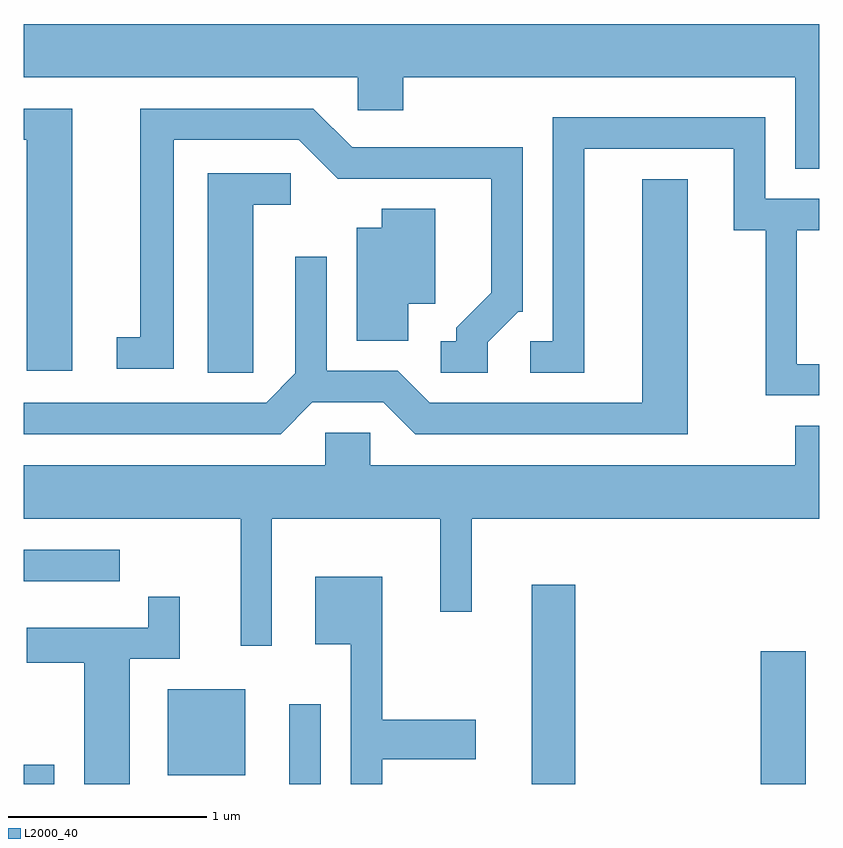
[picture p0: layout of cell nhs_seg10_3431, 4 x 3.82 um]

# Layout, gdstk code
import gdstk
lib = gdstk.Library(unit=1e-6, precision=1e-09)
def R(c, l, rs):  # rectangles x0, y0, x1, y1
    for r in rs: c.add(gdstk.rectangle(r[:2], r[2:], *l))
def P(c, l, *ps):  # polygons
    for p in ps: c.add(gdstk.Polygon(p, *l))
L2000_40 = (2000, 40)

nhs_seg10_3431 = lib.new_cell('nhs_seg10_3431')
R(nhs_seg10_3431, L2000_40, [(285.611,2172.522,285.764,2172.619), (286.946,2172.522,287.104,2172.923), (288.166,2172.522,288.384,2173.524), (289.316,2172.522,289.544,2173.189), (286.336,2172.566,286.724,2172.999), (285.611,2173.541,286.093,2173.699)])
P(nhs_seg10_3431, L2000_40, [(289.611,2176.344),(285.611,2176.344),(285.611,2176.076),(287.291,2176.076),(287.291,2175.911),(287.519,2175.911),(287.519,2176.076),(289.491,2176.076),(289.491,2175.616),(289.611,2175.616)],
  [(287.944,2174.744),(288.097,2174.896),(288.119,2174.896),(288.119,2175.724),(287.262,2175.724),(287.067,2175.919),(286.196,2175.919),(286.196,2174.769),(286.078,2174.769),(286.078,2174.611),(286.364,2174.611),(286.364,2175.761),(286.994,2175.761),(287.189,2175.566),(287.961,2175.566),(287.961,2174.992),(287.786,2174.817),(287.786,2174.749),(287.708,2174.749),(287.708,2174.591),(287.944,2174.591)],
  [(285.854,2175.919),(285.611,2175.919),(285.611,2175.761),(285.626,2175.761),(285.626,2174.601),(285.854,2174.601)],
  [(289.611,2174.634),(289.499,2174.634),(289.499,2175.306),(289.611,2175.306),(289.611,2175.464),(289.339,2175.464),(289.339,2175.874),(288.271,2175.874),(288.271,2174.749),(288.158,2174.749),(288.158,2174.591),(288.429,2174.591),(288.429,2175.716),(289.181,2175.716),(289.181,2175.306),(289.341,2175.306),(289.341,2174.476),(289.611,2174.476)],
  [(286.764,2175.436),(286.953,2175.436),(286.953,2175.594),(286.536,2175.594),(286.536,2174.591),(286.764,2174.591)],
  [(287.062,2174.441),(287.419,2174.441),(287.579,2174.281),(288.949,2174.281),(288.949,2175.564),(288.721,2175.564),(288.721,2174.439),(287.652,2174.439),(287.492,2174.599),(287.134,2174.599),(287.134,2175.173),(286.976,2175.173),(286.976,2174.587),(286.829,2174.439),(285.611,2174.439),(285.611,2174.281),(286.902,2174.281)],
  [(287.544,2174.936),(287.679,2174.936),(287.679,2175.414),(287.411,2175.414),(287.411,2175.319),(287.286,2175.319),(287.286,2174.751),(287.544,2174.751)],
  [(286.859,2173.856),(287.706,2173.856),(287.706,2173.388),(287.864,2173.388),(287.864,2173.856),(289.611,2173.856),(289.611,2174.324),(289.491,2174.324),(289.491,2174.124),(287.354,2174.124),(287.354,2174.289),(287.126,2174.289),(287.126,2174.124),(285.611,2174.124),(285.611,2173.856),(286.701,2173.856),(286.701,2173.218),(286.859,2173.218)],
  [(287.414,2172.646),(287.884,2172.646),(287.884,2172.844),(287.414,2172.844),(287.414,2173.564),(287.076,2173.564),(287.076,2173.226),(287.256,2173.226),(287.256,2172.522),(287.414,2172.522)],
  [(286.144,2173.151),(286.394,2173.151),(286.394,2173.463),(286.236,2173.463),(286.236,2173.309),(285.626,2173.309),(285.626,2173.131),(285.916,2173.131),(285.916,2172.522),(286.144,2172.522)])

lib.write_gds('nhs_seg10_3431.gds')
